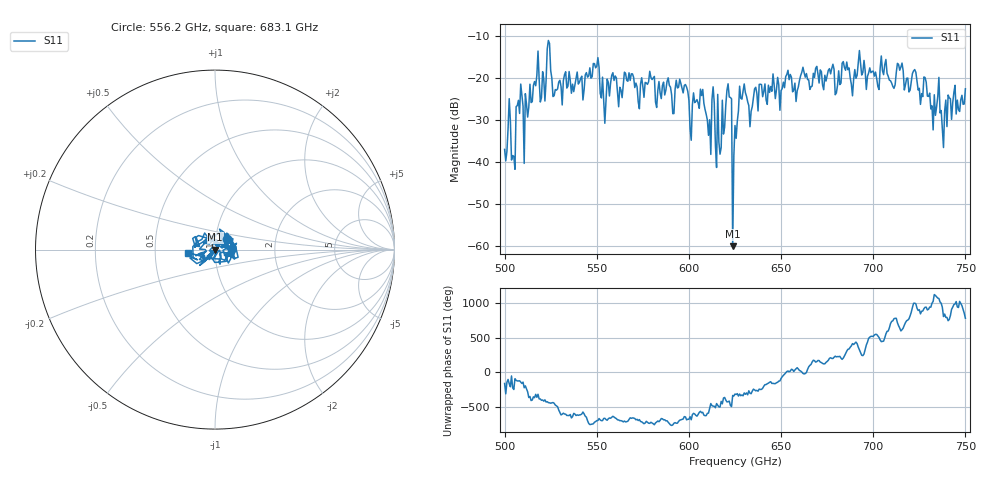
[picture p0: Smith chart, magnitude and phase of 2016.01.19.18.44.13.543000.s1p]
!Created with skrf (http://scikit-rf.org).
# GHz S RI R 50.0
!freq ReS11 ImS11
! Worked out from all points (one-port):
!   401 points, 500 GHz to 750 GHz, reference 50 ohm
!   lowest |S11| = -60.1 dB at 623.8 GHz (marker M1), VSWR 1.00, Z = 50.1 + j0.0356 ohm
!   |S11| at or under -10 dB: start of sweep to end of sweep
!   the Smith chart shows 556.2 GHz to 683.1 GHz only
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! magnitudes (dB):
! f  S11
! 500 GHz  -37.0
! 501.9 GHz  -32.0
! 505 GHz  -38.6
! 508.1 GHz  -28.4
! 511.9 GHz  -26.2
! 516.9 GHz  -21.8
! 520.6 GHz  -18.4
! 523.8 GHz  -11.0
! 526.9 GHz  -24.2
! 531.2 GHz  -26.4
! 549.4 GHz  -17.5
! 553.1 GHz  -19.7
! 559.4 GHz  -20.5
! 562.5 GHz  -22.1
! 593.8 GHz  -22.3
! 600.6 GHz  -32.0
! 607.5 GHz  -22.7
! 616.2 GHz  -35.2
! 621.9 GHz  -24.4
! 623.8 GHz  -60.1
! 625 GHz  -31.3
! 628.8 GHz  -25.0
! 633.1 GHz  -31.6
! 656.2 GHz  -23.2
! 687.5 GHz  -19.9
! 718.8 GHz  -19.9
! 738.8 GHz  -27.8
! 750 GHz  -22.5
